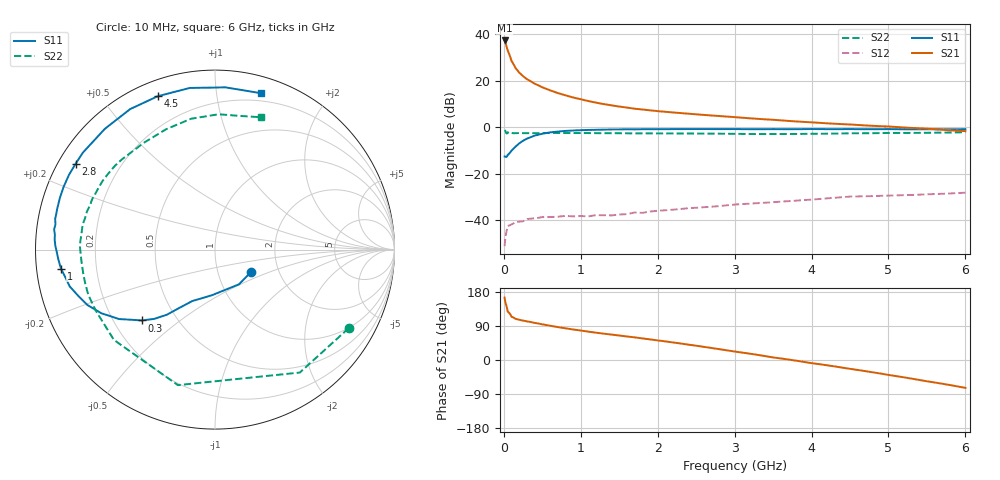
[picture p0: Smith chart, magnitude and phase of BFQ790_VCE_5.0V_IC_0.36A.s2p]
! (c) 2015  Infineon Technologies AG, Munich
! Infineon Technologies  Discrete & RF Semiconductors
! BFQ790
! VCE =  5.0 V,  IC = 0.36 A
! Common Emitter S-Parameters:  May 2015
# GHz  S  MA  R  50
!  f  S11  S21  S12  S22
! GHz  MAG  ANG  MAG  ANG  MAG  ANG  MAG  ANG
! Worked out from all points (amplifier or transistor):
!   77 points, 10 MHz to 6 GHz, reference 50 ohm
!   highest |S21| = 37.2 dB at 10 MHz (marker M1)
!   |S21| within 3 dB of that: start of sweep to 38.54 MHz
!   unconditionally stable (mu >= 1): 158.5 MHz to end of sweep
!   at 130 MHz: K = 0.92, MSG = 34.0 dB, |S12| = -41.2 dB
!   at 2.2 GHz: K = 1.36, MAG = 17.3 dB, |S12| = -35.4 dB
!   at 6 GHz: K = 1.12, MAG = 11.1 dB, |S12| = -28.1 dB
!   S11 on the Smith chart (normalised r, x): 10 MHz: 1.44, -0.38; 300 MHz: 0.32, -0.37; 1 GHz: 0.07, -0.06; 2.8 GHz: 0.05, +0.28; 4.5 GHz: 0.07, +0.69; 6 GHz: 0.13, +1.33
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0.01  0.2356 -32.2  72.86 164.5  0.0028 65.2  0.8639 -30.5
0.02  0.2352 -55.2  65.91 151.5  0.0043 61.1  0.8322 -55.4
0.05  0.2537 -93.3  44.5 128.0  0.0076 38.2  0.7829 -105.3
0.1  0.3133 -113.8  26.47 114.1  0.0082 25.6  0.7552 -138.2
0.15  0.3801 -121.4  18.88 108.9  0.0091 18.5  0.7462 -152.7
0.2  0.4503 -126.4  14.9 106.1  0.0094 23.0  0.7497 -160.3
0.25  0.5129 -131.2  12.47 103.9  0.0096 18.8  0.7471 -165.3
0.3  0.5684 -136.0  10.76 102.0  0.0107 18.4  0.7463 -169.1
0.4  0.6599 -144.1  8.616 97.9  0.0111 18.3  0.7466 -174.4
0.5  0.7253 -150.7  7.201 94.1  0.0118 12.4  0.749 -178.1
0.6  0.7749 -156.5  6.207 90.5  0.0118 16.7  0.7528 178.7
0.8  0.8351 -165.8  4.85 83.7  0.0125 11.6  0.7493 174.2
1  0.8648 -173.0  3.979 77.8  0.0124 13.1  0.75 170.5
1.1  0.8742 -176.3  3.643 74.8  0.0122 15.6  0.7491 168.7
1.5  0.8961 174.6  2.778 64.6  0.0134 16.4  0.7433 162.9
2.1  0.909 163.5  2.144 49.1  0.0165 17.8  0.7352 154.2
2.8  0.9122 148.4  1.74 28.6  0.0203 11.9  0.7274 140.1
3.1  0.9098 141.5  1.6 19.5  0.0224 8.6  0.7182 133.5
4.1  0.9115 119.0  1.243 -11.0  0.0288 -6.3  0.7248 109.7
4.5  0.9121 110.5  1.146 -23.3  0.0325 -13.7  0.7412 100.3
5.1  0.9069 96.4  1.012 -42.5  0.0344 -26.4  0.7534 86.4
6  0.9083 73.6  0.826 -73.6  0.0393 -48.0  0.7809 70.8
